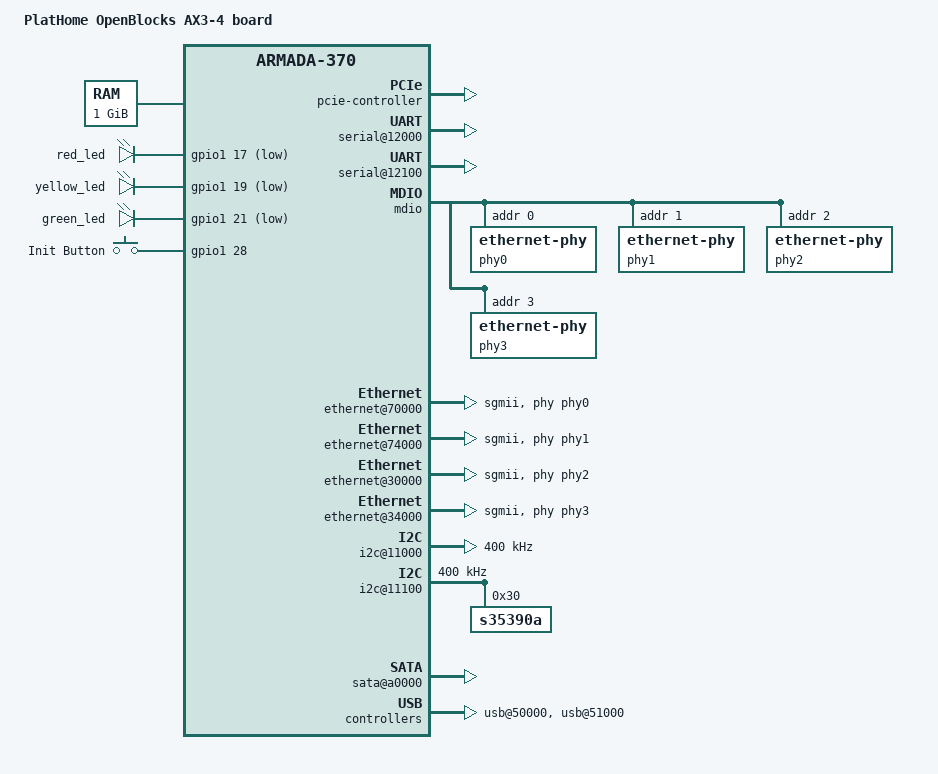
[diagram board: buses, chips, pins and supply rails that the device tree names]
/*
 * Device Tree file for OpenBlocks AX3-4 board
 *
 * Copyright (C) 2012 Marvell
 *
 * Thomas Petazzoni <thomas.petazzoni@free-electrons.com>
 *
 * This file is dual-licensed: you can use it either under the terms
 * of the GPL or the X11 license, at your option. Note that this dual
 * licensing only applies to this file, and not this project as a
 * whole.
 *
 *  a) This file is free software; you can redistribute it and/or
 *     modify it under the terms of the GNU General Public License as
 *     published by the Free Software Foundation; either version 2 of the
 *     License, or (at your option) any later version.
 *
 *     This file is distributed in the hope that it will be useful
 *     but WITHOUT ANY WARRANTY; without even the implied warranty of
 *     MERCHANTABILITY or FITNESS FOR A PARTICULAR PURPOSE.  See the
 *     GNU General Public License for more details.
 *
 * Or, alternatively
 *
 *  b) Permission is hereby granted, free of charge, to any person
 *     obtaining a copy of this software and associated documentation
 *     files (the "Software"), to deal in the Software without
 *     restriction, including without limitation the rights to use
 *     copy, modify, merge, publish, distribute, sublicense, and/or
 *     sell copies of the Software, and to permit persons to whom the
 *     Software is furnished to do so, subject to the following
 *     conditions:
 *
 *     The above copyright notice and this permission notice shall be
 *     included in all copies or substantial portions of the Software.
 *
 *     THE SOFTWARE IS PROVIDED , WITHOUT WARRANTY OF ANY KIND
 *     EXPRESS OR IMPLIED, INCLUDING BUT NOT LIMITED TO THE WARRANTIES
 *     OF MERCHANTABILITY, FITNESS FOR A PARTICULAR PURPOSE AND
 *     NONINFRINGEMENT. IN NO EVENT SHALL THE AUTHORS OR COPYRIGHT
 *     HOLDERS BE LIABLE FOR ANY CLAIM, DAMAGES OR OTHER LIABILITY
 *     WHETHER IN AN ACTION OF CONTRACT, TORT OR OTHERWISE, ARISING
 *     FROM, OUT OF OR IN CONNECTION WITH THE SOFTWARE OR THE USE OR
 *     OTHER DEALINGS IN THE SOFTWARE.
 */

/dts-v1/;
#include <dt-bindings/gpio/gpio.h>
#include <dt-bindings/input/input.h>
#include "armada-xp-mv78260.dtsi"

/ {
	model = "PlatHome OpenBlocks AX3-4 board";
	compatible = "plathome,openblocks-ax3-4", "marvell,armadaxp-mv78260", "marvell,armadaxp", "marvell,armada-370-xp";

	chosen {
		stdout-path = "serial0:115200n8";
	};

	memory {
		device_type = "memory";
		reg = <0 0x00000000 0 0x40000000>; /* 1 GB soldered on */
	};

	soc {
		ranges = <MBUS_ID(0xf0, 0x01) 0 0 0xd0000000 0x100000
			  MBUS_ID(0x01, 0x1d) 0 0 0xfff00000 0x100000
			  MBUS_ID(0x01, 0x2f) 0 0 0xe8000000 0x8000000
			  MBUS_ID(0x09, 0x09) 0 0 0xf1100000 0x10000
			  MBUS_ID(0x09, 0x05) 0 0 0xf1110000 0x10000
			  MBUS_ID(0x0c, 0x04) 0 0 0xd1200000 0x100000>;

		devbus-bootcs {
			status = "okay";

			/* Device Bus parameters are required */

			/* Read parameters */
			devbus,bus-width    = <16>;
			devbus,turn-off-ps  = <60000>;
			devbus,badr-skew-ps = <0>;
			devbus,acc-first-ps = <124000>;
			devbus,acc-next-ps  = <248000>;
			devbus,rd-setup-ps  = <0>;
			devbus,rd-hold-ps   = <0>;

			/* Write parameters */
			devbus,sync-enable = <0>;
			devbus,wr-high-ps  = <60000>;
			devbus,wr-low-ps   = <60000>;
			devbus,ale-wr-ps   = <60000>;

			/* NOR 128 MiB */
			nor@0 {
				compatible = "cfi-flash";
				reg = <0 0x8000000>;
				bank-width = <2>;
			};
		};

		pcie-controller {
			status = "okay";
			/* Internal mini-PCIe connector */
			pcie@1,0 {
				/* Port 0, Lane 0 */
				status = "okay";
			};
		};

		internal-regs {
			rtc@10300 {
				/* No crystal connected to the internal RTC */
				status = "disabled";
			};
			serial@12000 {
				status = "okay";
			};
			serial@12100 {
				status = "okay";
			};

			leds {
				compatible = "gpio-leds";
				pinctrl-names = "default";
				pinctrl-0 = <&led_pins>;

				red_led {
					label = "red_led";
					gpios = <&gpio1 17 GPIO_ACTIVE_LOW>;
					default-state = "off";
				};

				yellow_led {
					label = "yellow_led";
					gpios = <&gpio1 19 GPIO_ACTIVE_LOW>;
					default-state = "off";
				};

				green_led {
					label = "green_led";
					gpios = <&gpio1 21 GPIO_ACTIVE_LOW>;
					default-state = "keep";
				};
			};

			gpio_keys {
				compatible = "gpio-keys";
				#address-cells = <1>;
				#size-cells = <0>;

				button@1 {
					label = "Init Button";
					linux,code = <KEY_POWER>;
					gpios = <&gpio1 28 GPIO_ACTIVE_HIGH>;
				};
			};

			mdio {
				phy0: ethernet-phy@0 {
					reg = <0>;
				};

				phy1: ethernet-phy@1 {
					reg = <1>;
				};

				phy2: ethernet-phy@2 {
					reg = <2>;
				};

				phy3: ethernet-phy@3 {
					reg = <3>;
				};
			};

			ethernet@70000 {
				status = "okay";
				phy = <&phy0>;
				phy-mode = "sgmii";
				buffer-manager = <&bm>;
				bm,pool-long = <0>;
			};
			ethernet@74000 {
				status = "okay";
				phy = <&phy1>;
				phy-mode = "sgmii";
				buffer-manager = <&bm>;
				bm,pool-long = <1>;
			};
			ethernet@30000 {
				status = "okay";
				phy = <&phy2>;
				phy-mode = "sgmii";
				buffer-manager = <&bm>;
				bm,pool-long = <2>;
			};
			ethernet@34000 {
				status = "okay";
				phy = <&phy3>;
				phy-mode = "sgmii";
				buffer-manager = <&bm>;
				bm,pool-long = <3>;
			};
			i2c@11000 {
				status = "okay";
				clock-frequency = <400000>;
			};
			i2c@11100 {
				status = "okay";
				clock-frequency = <400000>;

				s35390a: s35390a@30 {
					compatible = "s35390a";
					reg = <0x30>;
				};
			};
			sata@a0000 {
				nr-ports = <2>;
				status = "okay";
			};

			/* Front side USB 0 */
			usb@50000 {
				status = "okay";
			};

			/* Front side USB 1 */
			usb@51000 {
				status = "okay";
			};

			bm@c0000 {
				status = "okay";
			};
		};

		bm-bppi {
			status = "okay";
		};
	};
};

&pinctrl {
	led_pins: led-pins-0 {
		marvell,pins = "mpp49", "mpp51", "mpp53";
		marvell,function = "gpio";
	};
};
